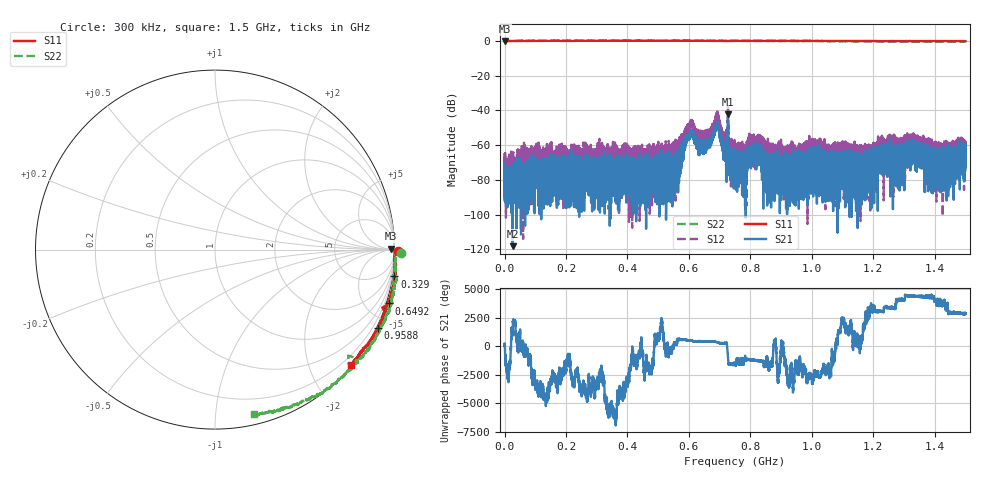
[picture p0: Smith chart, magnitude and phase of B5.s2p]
!Agilent Technologies,N5230C,SG49000117,A.08.50.07
!Agilent N5230C: A.08.50.07
!Date: Thursday, December 07, 2023 05:17:19
!Correction: S11(Full 2 Port(1,2))
!S21(Full 2 Port(1,2))
!S12(Full 2 Port(1,2))
!S22(Full 2 Port(1,2))
!S2P File: Measurements: S11, S21, S12, S22:
# Hz S  RI  R 50
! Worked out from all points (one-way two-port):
!   20001 points, 300 kHz to 1.5 GHz, reference 50 ohm
!   highest |S21| = -42.34 dB at 727.6 MHz (marker M1); lowest = -118.2 dB at 26.09 MHz (marker M2)
!   lowest |S11| = -0.2 dB at 749.9 kHz (marker M3), VSWR 91.16, Z = 4.31e+03 + j1.04e+03 ohm
!   |S11| at or under -10 dB: nowhere
!   |S22| runs from -0.6 to 0.3 dB; largest |S21 - S12| = 0.0072
!   S11 on the Smith chart (normalised r, x): 300 kHz: -84, -33; 329 MHz: -1, -13; 649.2 MHz: -0.29, -6.59; 958.8 MHz: -0.06, -4.41; 1.5 GHz: 0.04, -2.73
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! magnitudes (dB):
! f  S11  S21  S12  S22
! 300 kHz  0.2  -70.2  -69.3  0.3
! 749.9 kHz  -0.2  -90.2  -69.8  -0.6
! 26.09 MHz  0.0  -118.2  -70.9  0.0
! 61.94 MHz  0.0  -73.6  -61.6  0.0
! 250.3 MHz  0.1  -73.2  -84.0  0.2
! 329 MHz  0.1  -74.5  -64.8  0.2
! 500.2 MHz  0.1  -72.2  -70.9  0.2
! 552.6 MHz  0.1  -66.4  -81.0  0.2
! 606.5 MHz  0.1  -52.4  -46.5  0.1
! 649.2 MHz  0.1  -62.0  -53.8  0.2
! 691.7 MHz  0.1  -47.1  -42.0  0.0
! 715.5 MHz  0.1  -59.0  -54.5  0.1
! 727.6 MHz  -0.1  -42.3  -37.1  -0.5
! 750.1 MHz  0.1  -71.8  -60.8  0.1
! 780.2 MHz  0.1  -71.8  -65.8  0.0
! 830.6 MHz  0.1  -64.0  -60.5  0.0
! 855.1 MHz  0.1  -70.8  -67.5  0.0
! 958.8 MHz  0.1  -79.2  -67.2  0.0
! 1 GHz  0.1  -70.4  -62.0  0.0
! 1.166 GHz  0.0  -81.1  -72.5  -0.2
! 1.25 GHz  0.0  -63.4  -58.3  -0.3
! 1.5 GHz  -0.1  -70.4  -69.8  -0.5
